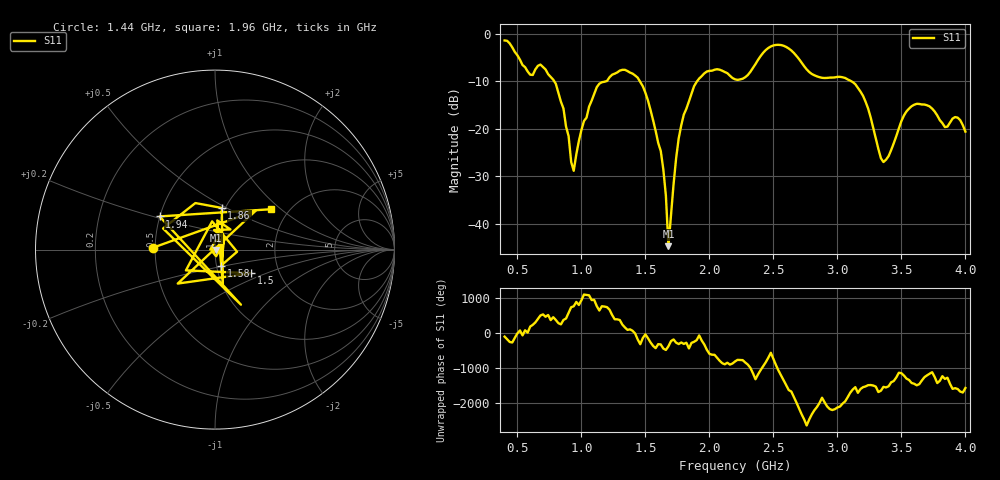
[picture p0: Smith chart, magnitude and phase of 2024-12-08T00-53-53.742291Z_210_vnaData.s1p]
!Created with skrf (http://scikit-rf.org).
# Hz S RI R 50.0
!freq ReS11 ImS11
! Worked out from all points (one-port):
!   181 points, 400 MHz to 4 GHz, reference 50 ohm
!   lowest |S11| = -44.7 dB at 1.68 GHz (marker M1), VSWR 1.01, Z = 50.6 - j0.152 ohm
!   |S11| at or under -10 dB: 788.6 MHz to 1.188 GHz (399.6 MHz wide, 40.4 % of centre); 1.457 GHz to 1.903 GHz (445.9 MHz wide, 26.5 % of centre); 3.111 GHz to end of sweep
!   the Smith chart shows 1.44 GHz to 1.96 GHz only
!   S11 on the Smith chart (normalised r, x): 1.44 GHz: 0.49, +0.01; 1.5 GHz: 1.44, -0.40; 1.58 GHz: 1.05, -0.19; 1.86 GHz: 0.96, +0.47; 1.94 GHz: 0.50, +0.21; 1.96 GHz: 1.62, +0.86
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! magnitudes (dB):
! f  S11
! 400 MHz  -1.4
! 600 MHz  -8.6
! 720 MHz  -7.5
! 860 MHz  -15.7
! 940 MHz  -28.8
! 1 GHz  -20.2
! 1.12 GHz  -11.2
! 1.3 GHz  -7.7
! 1.44 GHz  -9.2
! 1.5 GHz  -12.4
! 1.58 GHz  -20.4
! 1.64 GHz  -28.5
! 1.66 GHz  -34.0
! 1.68 GHz  -44.7
! 1.76 GHz  -22.0
! 1.86 GHz  -12.6
! 1.94 GHz  -8.9
! 1.96 GHz  -8.3
! 2.2 GHz  -9.6
! 2.48 GHz  -2.6
! 2.66 GHz  -4.0
! 2.82 GHz  -8.7
! 3.1 GHz  -9.8
! 3.22 GHz  -14.3
! 3.36 GHz  -27.0
! 3.56 GHz  -15.7
! 3.94 GHz  -17.6
! 4 GHz  -20.6
